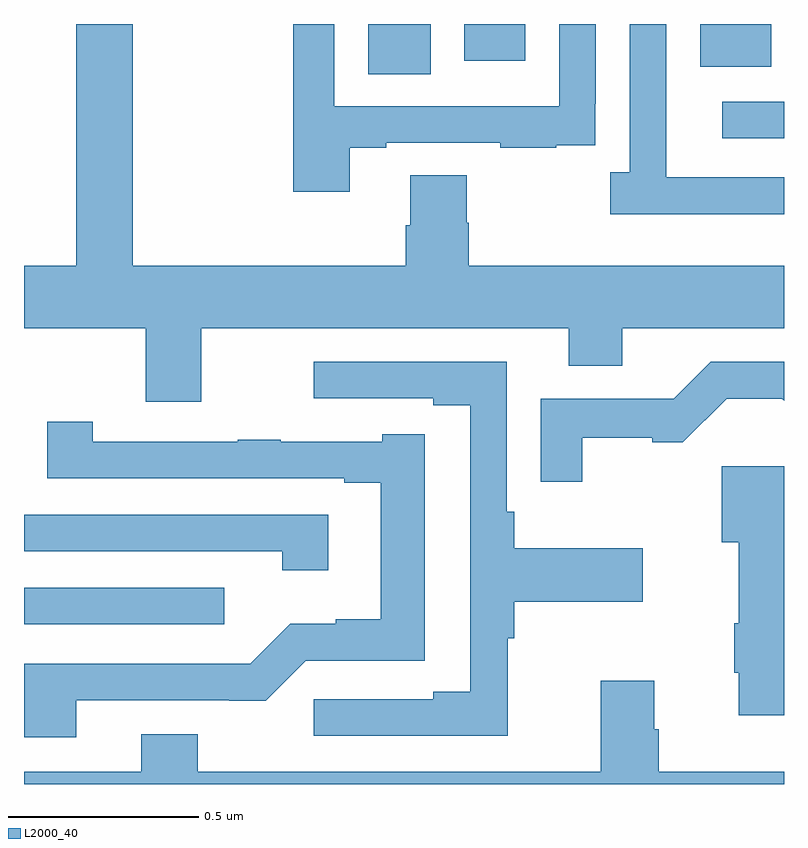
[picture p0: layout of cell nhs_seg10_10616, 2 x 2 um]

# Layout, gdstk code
import gdstk
lib = gdstk.Library(unit=1e-6, precision=1e-09)
def R(c, l, rs):  # rectangles x0, y0, x1, y1
    for r in rs: c.add(gdstk.rectangle(r[:2], r[2:], *l))
def P(c, l, *ps):  # polygons
    for p in ps: c.add(gdstk.Polygon(p, *l))
L2000_40 = (2000, 40)

nhs_seg10_10616 = lib.new_cell('nhs_seg10_10616')
R(nhs_seg10_10616, L2000_40, [(245,1248.921,245.527,1249.017), (246.837,1250.199,247,1250.295), (245.906,1250.368,246.07,1250.5), (246.779,1250.387,246.967,1250.5), (246.158,1250.403,246.319,1250.5)])
P(nhs_seg10_10616, L2000_40, [(245.467,1249.7),(246.434,1249.7),(246.434,1249.601),(246.574,1249.601),(246.574,1249.7),(247,1249.7),(247,1249.864),(246.17,1249.864),(246.17,1249.977),(246.165,1249.977),(246.165,1250.102),(246.017,1250.102),(246.017,1249.97),(246.005,1249.97),(246.005,1249.864),(245.286,1249.864),(245.286,1250.5),(245.138,1250.5),(245.138,1249.864),(245,1249.864),(245,1249.7),(245.32,1249.7),(245.32,1249.506),(245.467,1249.506)],
  [(247,1250.097),(246.69,1250.097),(246.69,1250.5),(246.594,1250.5),(246.594,1250.11),(246.543,1250.11),(246.543,1250),(247,1250)],
  [(245.857,1250.175),(245.953,1250.175),(245.953,1250.187),(246.253,1250.187),(246.253,1250.175),(246.401,1250.175),(246.401,1250.181),(246.503,1250.181),(246.503,1250.29),(246.504,1250.29),(246.504,1250.5),(246.408,1250.5),(246.408,1250.283),(245.817,1250.283),(245.817,1250.5),(245.709,1250.5),(245.709,1250.058),(245.857,1250.058)],
  [(246.273,1248.884),(246.29,1248.884),(246.29,1248.98),(246.628,1248.98),(246.628,1249.12),(246.29,1249.12),(246.29,1249.216),(246.27,1249.216),(246.27,1249.611),(245.763,1249.611),(245.763,1249.515),(246.077,1249.515),(246.077,1249.497),(246.174,1249.497),(246.174,1248.743),(246.077,1248.743),(246.077,1248.723),(245.763,1248.723),(245.763,1248.627),(246.273,1248.627)],
  [(246.469,1249.411),(246.653,1249.411),(246.653,1249.399),(246.734,1249.399),(246.849,1249.514),(246.994,1249.514),(247,1249.508),(247,1249.611),(246.807,1249.611),(246.71,1249.514),(246.36,1249.514),(246.36,1249.296),(246.469,1249.296)],
  [(245.137,1248.72),(245.54,1248.72),(245.54,1248.719),(245.636,1248.719),(245.742,1248.825),(246.055,1248.825),(246.055,1249.42),(245.943,1249.42),(245.943,1249.401),(245.675,1249.401),(245.675,1249.406),(245.563,1249.406),(245.563,1249.401),(245.181,1249.401),(245.181,1249.453),(245.061,1249.453),(245.061,1249.305),(245.843,1249.305),(245.843,1249.293),(245.939,1249.293),(245.939,1248.934),(245.82,1248.934),(245.82,1248.922),(245.701,1248.922),(245.595,1248.816),(245,1248.816),(245,1248.623),(245.137,1248.623)],
  [(247,1249.336),(246.836,1249.336),(246.836,1249.136),(246.881,1249.136),(246.881,1248.923),(246.869,1248.923),(246.869,1248.793),(246.881,1248.793),(246.881,1248.681),(247,1248.681)],
  [(245.8,1249.209),(245,1249.209),(245,1249.113),(245.679,1249.113),(245.679,1249.062),(245.8,1249.062)],
  [(247,1248.532),(246.671,1248.532),(246.671,1248.644),(246.658,1248.644),(246.658,1248.772),(246.518,1248.772),(246.518,1248.532),(245.457,1248.532),(245.457,1248.631),(245.309,1248.631),(245.309,1248.532),(245,1248.532),(245,1248.5),(247,1248.5)])

lib.write_gds('nhs_seg10_10616.gds')
